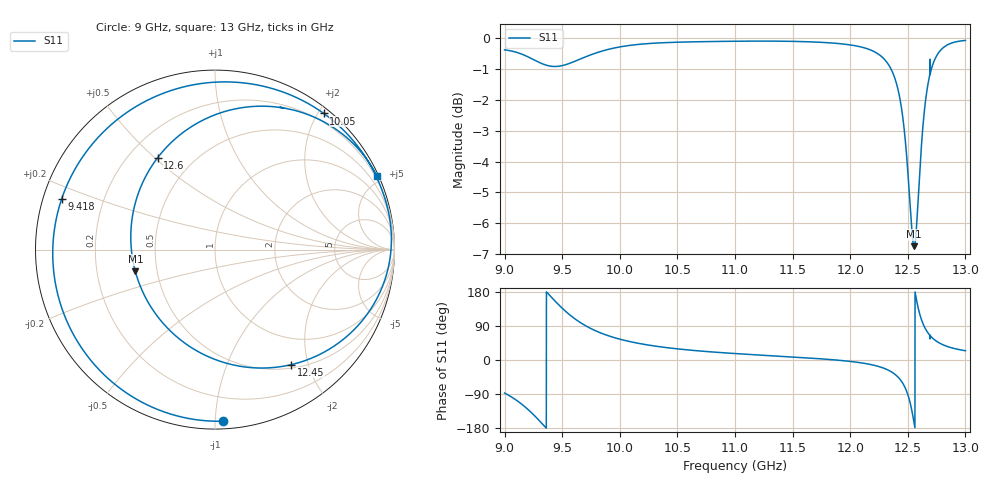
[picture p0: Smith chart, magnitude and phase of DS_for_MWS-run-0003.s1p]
! TOUCHSTONE file generated by CST DESIGN STUDIO
! Date and time: Tue Feb  4 17:33:36 2025
! Project name: C:\Work\MatlabApps\UnitCellOptimizationMatlab\CST\unitcell.cst
! Tree item: Tasks\Sweep1\SPara1\S-Parameters
! Header version: 2024
! Port assignment regex: !\s*Touchstone port\s*([0-9]+)\s*=\s*(CST MWS port|CST DES external port|CST DES block port)\s*(.+)\s* \(\"(.*)\"\)(\s*mode\s*([0-9]+))?.*
! Touchstone port assignment:
! Touchstone port 1 = CST DES external port 1 ("")
# GHz S MA R 50
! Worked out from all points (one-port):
!   4001 points, 9 GHz to 13 GHz, reference 50 ohm
!   lowest |S11| = -6.7 dB at 12.55 GHz (marker M1), VSWR 2.70, Z = 18.8 - j5.8 ohm
!   |S11| at or under -10 dB: nowhere
!   S11 on the Smith chart (normalised r, x): 9 GHz: 0.05, -1.05; 9.418 GHz: 0.05, +0.16; 10.05 GHz: 0.08, +2.08; 12.45 GHz: 0.55, -1.73; 12.6 GHz: 0.32, +0.51; 13 GHz: 0.10, +4.61
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9  0.9571 -87.2
9.108  0.9478 -107.3
9.199  0.9332 -129.5
9.316  0.9105 -164.7
9.418  0.8997 161.8
9.5  0.9025 136.7
9.587  0.9135 113.9
9.685  0.9296 93.6
9.833  0.9512 71.5
10  0.9676 55.0
10.047  0.9708 51.4
10.5  0.9848 29.4
11  0.9884 17.0
11.5  0.9879 7.9
12  0.9749 -3.7
12.306  0.9199 -23.4
12.386  0.8625 -37.2
12.446  0.7688 -56.5
12.5  0.6083 -90.9
12.526  0.5137 -120.1
12.554  0.4602 -164.7
12.577  0.4993 156.4
12.603  0.6038 121.9
12.629  0.711 98.1
12.658  0.8026 79.7
12.75  0.9359 49.4
12.849  0.9761 35.1
13  0.9912 24.5
